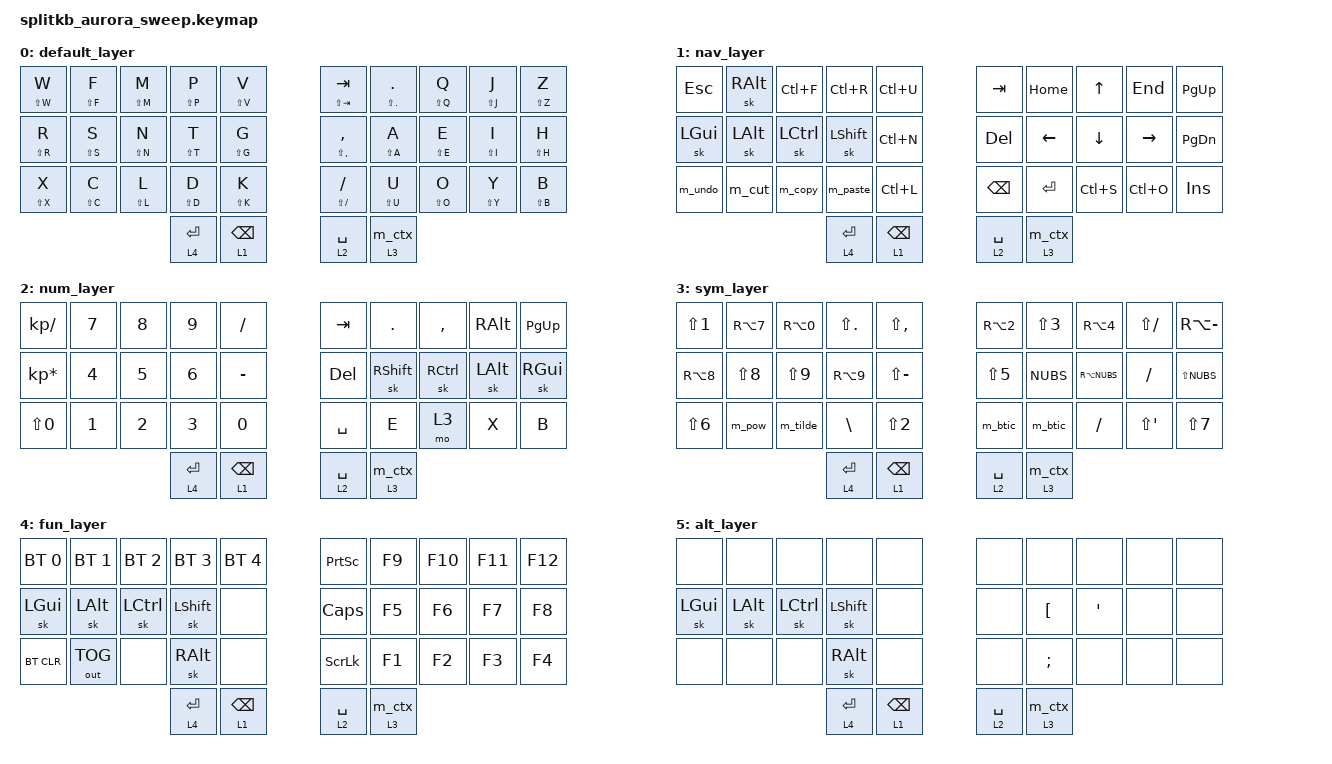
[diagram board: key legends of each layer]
/*
 * Copyright (c) 2022 The ZMK Contributors
 *
 * SPDX-License-Identifier: MIT
 */

#include <behaviors.dtsi>
#include <dt-bindings/zmk/keys.h>
#include <dt-bindings/zmk/bt.h>
#include <dt-bindings/zmk/behaviors.h>
#include <dt-bindings/zmk/outputs.h>
//#include <keys_se.h>


&mt {
    flavor = "tap-preferred";
    tapping-term-ms = <200>;
};

&lt {
    flavor = "balanced";
    tapping-term-ms = <250>;
    quick-tap-ms = <220>;
};

/ {
    behaviors {
        ltr: repeat_layer_tap {
            compatible = "zmk,behavior-hold-tap";
            #binding-cells = <2>;
            flavor = "hold-preferred";
            tapping-term-ms = <250>;
            quick-tap-ms = <220>;
            bindings = <&mo>, <&key_repeat>;
        };

        lt_ctx: layer_tap_contextual {
            compatible = "zmk,behavior-hold-tap";
            #binding-cells = <2>;
            flavor = "balanced";
            tapping-term-ms = <250>;
            quick-tap-ms = <220>;
            bindings = <&mo>, <&m_ctx>;
        };

        as_ht: autoshift_hold_tap {
            compatible = "zmk,behavior-hold-tap";
            label = "AUTOSHIFT_HOLD_TAP";
            #binding-cells = <2>;
            tapping-term-ms = <250>;
            flavor = "tap-preferred";
            bindings = <&shifted>, <&kp>;
        };

        st_mo: sticky_layer_mo {
            compatible = "zmk,behavior-hold-tap";
            #binding-cells = <2>;
            tapping-term-ms = <250>;
            quick-tap-ms = <220>;
            bindings = <&mo>, <&sl>;
        };

        as: auto_shift {
            compatible = "zmk,behavior-hold-tap";
            label = "AUTO_SHIFT";
            #binding-cells = <2>;
            tapping-term-ms = <250>;     /* Adjust to your preferred hold time */
            quick-tap-ms = <0>;
            flavor = "tap-preferred";
            bindings = <&kp>, <&kp>;     /* <Hold>, <Tap> */
        };

        // ctx: contextual_magic_key {
        //     compatible = "zmk,behavior-contextual";
        //     #binding-cells = <1>;
                        
        //     // The magic dictionary: <PREVIOUS_KEY   OUTPUT_KEY>
        //     key-pairs = <Q U>, <S C>, <N M>, <C R>, <A U>, <U A>;
        // };
    };

    macros {
        m_ctx: m_ctx {
            compatible = "zmk,behavior-macro";
            #binding-cells = <0>;
            wait-ms = <30>;
            tap-ms = <40>;
            bindings = <&kp SPACE>;
        };
        m_qu: m_qu {
            compatible = "zmk,behavior-macro";
            #binding-cells = <0>;
            wait-ms = <30>;
            tap-ms = <40>;
            bindings = <&kp Q &kp U>;
        };

        m_fl: m_fl {
            compatible = "zmk,behavior-macro";
            #binding-cells = <0>;
            wait-ms = <30>;
            tap-ms = <40>;
            bindings = <&kp F &kp L>;
        };

        m_cbsp: m_cbsp {
            compatible = "zmk,behavior-macro";
            #binding-cells = <0>;
            tap-ms = <40>;
            bindings = <&macro_press &kp LCTRL>,
                        <&macro_tap &kp BSPC>,
                        <&macro_release &kp LCTRL>;
        };

        shifted: macro_shifted_kp {
            #binding-cells = <1>;
            label = "MACRO_SHIFTED_KP";
            compatible = "zmk,behavior-macro-one-param";
            bindings =
            <&macro_press &kp LSHFT>,
            <&macro_param_1to1 &macro_tap &kp MACRO_PLACEHOLDER>,
            <&macro_release &kp LSHFT>;
        };
/*
        as: autoshift {
            compatible = "zmk,behavior-macro-one-param";
            #binding-cells = <1>;
            label = "AUTOSHIFT_KP";
            bindings =
            <&macro_press>,
            <&macro_param_1to1>,
            <&macro_param_1to2>,
            <&as_ht MACRO_PLACEHOLDER MACRO_PLACEHOLDER>,
            <&macro_pause_for_release>,
            <&macro_release>,
            <&macro_param_1to1>,
            <&macro_param_1to2>,
            <&as_ht MACRO_PLACEHOLDER MACRO_PLACEHOLDER>;
        };
*/
        m_copy: m_copy {
            compatible = "zmk,behavior-macro";
            #binding-cells = <0>;
            wait-ms = <30>;
            tap-ms = <40>;
            bindings = <&macro_press &kp LCTRL>,
                        <&macro_tap &kp C>,
                        <&macro_release &kp LCTRL>;
        };

        m_paste: m_paste {
            compatible = "zmk,behavior-macro";
            #binding-cells = <0>;
            wait-ms = <30>;
            tap-ms = <40>;
            bindings = <&macro_press &kp LCTRL>,
                        <&macro_tap &kp V>,
                        <&macro_release &kp LCTRL>;
        };

        m_cut: m_cut {
            compatible = "zmk,behavior-macro";
            #binding-cells = <0>;
            wait-ms = <30>;
            tap-ms = <40>;
            bindings = <&macro_press &kp LCTRL>,
                        <&macro_tap &kp X>,
                        <&macro_release &kp LCTRL>;
        };

        m_undo: m_undo {
            compatible = "zmk,behavior-macro";
            #binding-cells = <0>;
            wait-ms = <30>;
            tap-ms = <40>;
            bindings = <&macro_press &kp LCTRL>,
                        <&macro_tap &kp Z>,
                        <&macro_release &kp LCTRL>;
        };

        m_tilde: m_tilde {
            compatible = "zmk,behavior-macro";
            #binding-cells = <0>;
            wait-ms = <40>;
            tap-ms = <40>;
            bindings =  <&macro_tap &kp RA(RBRC)>,
                        <&macro_tap &kp SPACE>;
        };

        m_pow: m_pow {
            compatible = "zmk,behavior-macro";
            #binding-cells = <0>;
            wait-ms = <30>;
            tap-ms = <40>;
            bindings = <&macro_tap &kp RBRC>,
                        <&macro_tap &kp SPACE>;
        };

        m_btic: m_btic {
            compatible = "zmk,behavior-macro";
            #binding-cells = <0>;
            wait-ms = <30>;
            tap-ms = <40>;
            bindings = <&macro_press &kp RSHFT>,
                        <&macro_tap &kp EQL>,
                        <&macro_release &kp RSHFT>,
                        <&macro_tap &kp SPACE>;
        };

        m_at: m_at {
            compatible = "zmk,behavior-macro";
            #binding-cells = <0>;
            wait-ms = <30>;
            tap-ms = <40>;
            bindings = <&macro_press &kp RALT>,
                        <&macro_tap &kp N2>,
                        <&macro_release &kp RALT>;
        };
        m_lsqb: m_lsqb {
            compatible = "zmk,behavior-macro";
            #binding-cells = <0>;
            wait-ms = <30>;
            tap-ms = <40>;
            bindings = <&macro_press &kp RALT>,
                        <&macro_tap &kp N8>,
                        <&macro_release &kp RALT>;
        };
        m_rsqb: m_rsqb {
            compatible = "zmk,behavior-macro";
            #binding-cells = <0>;
            wait-ms = <30>;
            tap-ms = <40>;
            bindings = <&macro_press &kp RALT>,
                        <&macro_tap &kp N9>,
                        <&macro_release &kp RALT>;
        };

    };

    combos {
        compatible = "zmk,combos";
        combo_esc {
            timeout-ms = <35>;
            key-positions = <0 1>;
            bindings = <&kp ESC>;
        };

        combo_bsp {
            timeout-ms = <30>;
            key-positions = <10 11>;
            bindings = <&kp BSPC>;
        };

        combo_cbsp {
            timeout-ms = <50>;
            key-positions = <23 31>;
            bindings = <&m_cbsp>;
        };

        combo_tab {
            timeout-ms = <30>;
            key-positions = <10 20>;
            bindings = <&kp TAB>;
        };

       combo_ent {
            timeout-ms = <30>;
            key-positions = <19 29>;
            bindings = <&kp ENTER>;
        };

       combo_cut {
            timeout-ms = <30>;
            key-positions = <20 21>;
            bindings = <&kp LC(X)>;
        };

       combo_copy {
            timeout-ms = <30>;
            key-positions = <21 22>;
            bindings = <&kp LC(C)>;
        };

       combo_paste {
            timeout-ms = <30>;
            key-positions = <21 23>;
            bindings = <&kp LC(V)>;
        };

       combo_undo {
            timeout-ms = <30>;
            key-positions = <20 22>;
            bindings = <&kp LC(Z)>;
        };

        combo_oe {
            timeout-ms = <20>;
            key-positions = <26 28>;
            bindings = <&kp SEMI>;
        };

        combo_ae {
            timeout-ms = <30>;
            key-positions = <16 18>;
            bindings = <&kp SQT>;
        };

        combo_aa {
            timeout-ms = <50>;
            key-positions = <15 16>;
            bindings = <&kp LBKT>;
        };

        combo_qu {
            timeout-ms = <50>;
            key-positions = <7 8>;
            bindings = <&m_qu>;
        };

        combo_fl {
            timeout-ms = <50>;
            key-positions = <1 2>;
            bindings = <&m_fl>;
        };

        combo_cpswd {
            timeout-ms = <50>;
            key-positions = <14 15>;
            bindings = <&caps_word>;
        };
    };

        keymap {
                compatible = "zmk,keymap";

            default_layer {
        bindings = <
        &as LS(W) W  &as LS(F) F  &as LS(M) M  &as LS(P) P  &as LS(V) V                 &as LS(TAB) TAB     &as LS(DOT) DOT  &as LS(Q) Q  &as LS(J) J  &as LS(Z) Z
        &as LS(R) R  &as LS(S) S  &as LS(N) N  &as LS(T) T  &as LS(G) G                 &as LS(COMMA) COMMA &as LS(A) A      &as LS(E) E  &as LS(I) I  &as LS(H) H
        &as LS(X) X  &as LS(C) C  &as LS(L) L  &as LS(D) D  &as LS(K) K                 &as LS(SLASH) SLASH &as LS(U) U      &as LS(O) O  &as LS(Y) Y  &as LS(B) B
                                               &lt 4 ENTER  &lt 1 BSPC                  &lt 2 SPACE         &lt_ctx 3 0
        >;
        };

            nav_layer {
        bindings = <
        &kp ESC     &sk RALT    &kp LC(F)   &kp LC(R)   &kp LC(U)                      &kp TAB      &kp HOME     &kp UP       &kp END      &kp PG_UP
        &sk LGUI    &sk LALT    &sk LCTRL   &sk LSHFT   &kp LC(N)                      &kp DEL      &kp LEFT     &kp DOWN     &kp RIGHT    &kp PG_DN
        &m_undo     &m_cut      &m_copy     &m_paste    &kp LC(L)                      &kp BSPC     &kp ENTER    &kp LC(S)    &kp LC(O)    &kp INS
                                            &lt 4 ENTER &lt 1 BSPC                     &lt 2 SPACE  &lt_ctx 3 0
        >;
        };

            num_layer {
        bindings = <
        &kp KP_DIVIDE   &kp N7      &kp N8      &kp N9      &kp SLASH                  &kp TAB      &kp DOT      &kp COMMA    &kp RALT      &kp PG_UP
        &kp KP_MULTIPLY &kp N4      &kp N5      &kp N6      &kp MINUS                  &kp DEL      &sk RSHFT    &sk RCTRL    &sk LALT      &sk RGUI
        &kp LS(N0)      &kp N1      &kp N2      &kp N3      &kp N0                     &kp SPACE    &kp E        &mo 3        &kp X      &kp B
                                                &lt 4 ENTER &lt 1 BSPC                 &lt 2 SPACE  &lt_ctx 3 0
        >;
        };

            sym_layer {
        bindings = <
        &kp LS(N1)      &kp RA(N7)   &kp RA(N0)    &kp LS(DOT) &kp LS(COMMA)           &kp RA(N2)   &kp LS(N3)   &kp RA(N4)   &kp LS(SLASH) &kp RA(MINUS)
        &kp RA(N8)      &kp LS(N8)   &kp LS(N9)   &kp RA(N9)  &kp LS(MINUS)            &kp LS(N5)   &kp NUBS     &kp RA(NUBS) &kp SLASH     &kp LS(NUBS)
        &kp LS(N6)      &m_pow       &m_tilde     &kp BSLH    &kp LS(N2)               &m_btic      &m_btic      &kp SLASH    &kp LS(SQT)   &kp LS(N7)
                                                  &lt 4 ENTER &lt 1 BSPC               &lt 2 SPACE  &lt_ctx 3 0
        >;
        };

            fun_layer {
        bindings = <
        &bt BT_SEL 0 &bt BT_SEL 1 &bt BT_SEL 2 &bt BT_SEL 3  &bt BT_SEL 4              &kp PSCRN       &kp F9      &kp F10     &kp F11     &kp F12                   
        &sk LGUI     &sk LALT     &sk LCTRL    &sk LSHFT     &none                     &kp CAPS        &kp F5      &kp F6      &kp F7      &kp F8                     
        &bt BT_CLR   &out OUT_TOG &none        &sk RALT      &none                     &kp SLCK        &kp F1      &kp F2      &kp F3      &kp F4                      
                                               &lt 4 ENTER   &lt 1 BSPC                &lt 2 SPACE     &lt_ctx 3 0
        >;
        };

            alt_layer {
        bindings = <
        &none        &none        &none        &none         &none                     &none        &none      &none     &none     &none                   
        &sk LGUI     &sk LALT     &sk LCTRL    &sk LSHFT     &none                     &none        &kp LBKT   &kp SQT   &none      &none                     
        &none        &none        &none        &sk RALT      &none                     &none        &kp SEMI   &none     &none      &none                      
                                               &lt 4 ENTER   &lt 1 BSPC                &lt 2 SPACE  &lt_ctx 3 0
        >;
        };

        //     fun_layer {
        // bindings = <
        // &bt BT_SEL 0 &bt BT_SEL 1 &bt BT_SEL 2 &bt BT_SEL 3  &bt BT_SEL 4              &kp PSCRN       &kp F9      &kp F10     &kp F11     &kp F12                   
        // &sk LGUI     &sk LALT     &sk LCTRL    &sk LSHFT     &none                     &kp CAPS        &kp F5      &kp F6      &kp F7      &kp F8                     
        // &kp BT_CLR   &none        &none        &sk RALT      &none                     &kp SLCK        &kp F1      &kp F2      &kp F3      &kp F4                      
        //                                        &lt 4 ENTER   &lt 1 BSPC                &lt 2 SPACE     &ltr 3 0
        // >;
        // };

        //     left_layer {
        // bindings = <
        // &kp N1  &kp N2    &kp N3    &kp N4    &kp N5     &kp N6 &kp N7 &kp N8 &kp N9 &kp N0
        // &kp TAB    &kp LC(S)    &kp DQT      &kp PIPE2     &kp HASH         &kp MINUS &kp EQUAL  &kp LBKT &kp RBKT  &kp DEL
        // &kp ESC    &kp TILDE    &kp NON_US_BSLH &kp NON_US_HASH  &kp TILDE2     &kp MINUS &kp GRAVE &kp LBKT &kp RBKT  &kp DEL
        //                 &mo 1  &kp LGUI                     &kp RGUI &mo 2
        // >;
        // };

        // right_layer {
        // bindings = <
        // &kp EXCL  &kp AT &kp HASH  &kp DLLR  &kp PRCNT             &kp CARET  &kp AMPS &kp KP_MULTIPLY &kp LPAR &kp RPAR
        // &kp HASH  &kp QMARK  &kp FSLH  &kp COLON  &kp SEMI           &kp MINUS &kp KP_EQUAL  &kp LBRC  &kp RBRC   &kp BSPC
        // &kp LSHFT  &kp KP_PLUS &kp LBKT &kp RBKT   &kp BSLH             &kp UNDER &kp LEFT &kp DOWN &kp UP  &kp RIGHT
        //               &mo 3 &kp LCTRL                &kp SPACE  &mo 2
        // >;
        // };

        // tri_layer {
        // bindings = <
        // &kp N1  &kp N2    &kp N3    &kp N4    &kp N5             &trans &trans   &trans   &trans  &trans
        // &kp F1 &kp F2 &kp F3 &kp F4 &kp F5                          &trans &kp PG_UP  &kp K_VOL_UP &kp K_MUTE &trans
        // &bt BT_CLR  &bt BT_NXT &bt BT_PRV &kp F6 &kp F7                 &trans &kp PG_DN  &kp K_VOL_DN  &trans &trans
        //              &trans &trans                      &trans &trans
        // >;
        // };

    };
};
